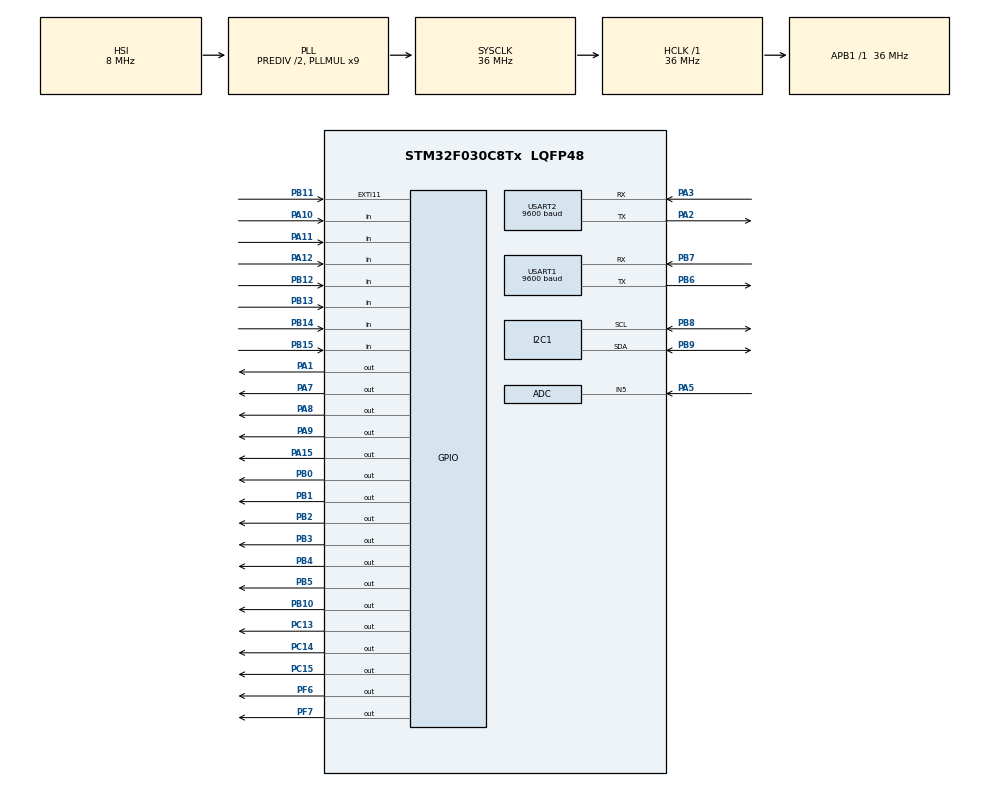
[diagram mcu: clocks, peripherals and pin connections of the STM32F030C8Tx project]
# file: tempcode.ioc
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ADC.ClockPrescaler=ADC_CLOCK_ASYNC_DIV1
ADC.ContinuousConvMode=ENABLE
ADC.DMAContinuousRequests=ENABLE
ADC.ExternalTrigConv=ADC_SOFTWARE_START
ADC.SamplingTime=ADC_SAMPLETIME_28CYCLES_5
Dma.ADC.0.Direction=DMA_PERIPH_TO_MEMORY
Dma.ADC.0.Instance=DMA1_Channel1
Dma.ADC.0.MemDataAlignment=DMA_MDATAALIGN_HALFWORD
Dma.ADC.0.MemInc=DMA_MINC_ENABLE
Dma.ADC.0.Mode=DMA_CIRCULAR
Dma.ADC.0.PeriphDataAlignment=DMA_PDATAALIGN_HALFWORD
Dma.ADC.0.PeriphInc=DMA_PINC_DISABLE
Dma.ADC.0.Priority=DMA_PRIORITY_LOW
Dma.Request0=ADC
Dma.Request1=USART2_RX
Dma.Request2=USART1_RX
Dma.USART1_RX.2.Direction=DMA_PERIPH_TO_MEMORY
Dma.USART1_RX.2.Instance=DMA1_Channel3
Dma.USART1_RX.2.MemDataAlignment=DMA_MDATAALIGN_BYTE
Dma.USART1_RX.2.MemInc=DMA_MINC_ENABLE
Dma.USART1_RX.2.Mode=DMA_NORMAL
Dma.USART1_RX.2.PeriphDataAlignment=DMA_PDATAALIGN_BYTE
Dma.USART1_RX.2.PeriphInc=DMA_PINC_DISABLE
Dma.USART1_RX.2.Priority=DMA_PRIORITY_LOW
Dma.USART2_RX.1.Direction=DMA_PERIPH_TO_MEMORY
Dma.USART2_RX.1.Instance=DMA1_Channel5
Dma.USART2_RX.1.MemDataAlignment=DMA_MDATAALIGN_BYTE
Dma.USART2_RX.1.MemInc=DMA_MINC_ENABLE
Dma.USART2_RX.1.Mode=DMA_NORMAL
Dma.USART2_RX.1.PeriphDataAlignment=DMA_PDATAALIGN_BYTE
Dma.USART2_RX.1.PeriphInc=DMA_PINC_DISABLE
Dma.USART2_RX.1.Priority=DMA_PRIORITY_LOW
I2C1.Timing=0x00808CD2
Mcu.Family=STM32F0
Mcu.Name=STM32F030C8Tx
Mcu.Package=LQFP48
NVIC.DMA1_Channel1_IRQn=true\:0\:0\:false\:false\:true\:false\:true\:true
NVIC.DMA1_Channel2_3_IRQn=true\:0\:0\:false\:false\:true\:false\:true\:true
NVIC.DMA1_Channel4_5_IRQn=true\:0\:0\:false\:false\:true\:false\:true\:true
NVIC.USART1_IRQn=true\:0\:0\:false\:false\:true\:true\:true\:true
NVIC.USART2_IRQn=true\:0\:0\:false\:false\:true\:true\:true\:true
PA1.Signal=GPIO_Output
PA10.Signal=GPIO_Input
PA11.Signal=GPIO_Input
PA12.Signal=GPIO_Input
PA13.Mode=Serial_Wire
PA13.Signal=SYS_SWDIO
PA14.Mode=Serial_Wire
PA14.Signal=SYS_SWCLK
PA15.Signal=GPIO_Output
PA2.Mode=Asynchronous
PA2.Signal=USART2_TX
PA3.Mode=Asynchronous
PA3.Signal=USART2_RX
PA5.Mode=IN5
PA5.Signal=ADC_IN5
PA7.Signal=GPIO_Output
PA8.Signal=GPIO_Output
PA9.Signal=GPIO_Output
PB0.Signal=GPIO_Output
PB1.Signal=GPIO_Output
PB10.Signal=GPIO_Output
PB11.Signal=GPXTI11
PB12.GPIO_PuPd=GPIO_PULLUP
PB12.Signal=GPIO_Input
PB13.GPIO_PuPd=GPIO_PULLUP
PB13.Signal=GPIO_Input
PB14.GPIO_PuPd=GPIO_PULLUP
PB14.Signal=GPIO_Input
PB15.GPIO_PuPd=GPIO_PULLUP
PB15.Signal=GPIO_Input
PB2.Signal=GPIO_Output
PB3.Signal=GPIO_Output
PB4.Signal=GPIO_Output
PB5.Signal=GPIO_Output
PB6.Mode=Asynchronous
PB6.Signal=USART1_TX
PB7.Mode=Asynchronous
PB7.Signal=USART1_RX
PB8.GPIO_Pu=GPIO_PULLUP
PB8.Mode=I2C
PB8.Signal=I2C1_SCL
PB9.GPIO_Pu=GPIO_PULLUP
PB9.Mode=I2C
PB9.Signal=I2C1_SDA
PC13.Signal=GPIO_Output
PC14-OSC32_IN.Signal=GPIO_Output
PC15-OSC32_OUT.Signal=GPIO_Output
PF0-OSC_IN.Mode=HSE-External-Oscillator
PF0-OSC_IN.Signal=RCC_OSC_IN
PF1-OSC_OUT.Mode=HSE-External-Oscillator
PF1-OSC_OUT.Signal=RCC_OSC_OUT
PF6.Signal=GPIO_Output
PF7.Signal=GPIO_Output
ProjectManager.HeapSize=0x200
ProjectManager.StackSize=0x400
ProjectManager.TargetToolchain=Makefile
RCC.AHBFreq_Value=36000000
RCC.APB1Freq_Value=36000000
RCC.APB1TimFreq_Value=36000000
RCC.HCLKFreq_Value=36000000
RCC.I2c1ClockSelection=RCC_I2C1CLKSOURCE_SYSCLK
RCC.PLLDivider=RCC_PREDIV_DIV2
RCC.PLLMUL=RCC_PLL_MUL9
RCC.SYSCLKFreq_VALUE=36000000
RCC.SYSCLKSource=RCC_SYSCLKSOURCE_PLLCLK
USART1.BaudRate=9600
USART1.VirtualMode-Asynchronous=VM_ASYNC
USART2.BaudRate=9600
USART2.VirtualMode-Asynchronous=VM_ASYNC
VP_IWDG_VS_IWDG.Mode=IWDG_Activate
board=custom

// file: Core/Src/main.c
/* USER CODE BEGIN Header */
/**
******************************************************************************
* @file           : main.c
* @brief          : Main program body
******************************************************************************
* @attention
*
* <h2><center>&copy; Copyright (c) 2021 STMicroelectronics.
* All rights reserved.</center></h2>
*
* This software component is licensed by ST under BSD 3-Clause license,
* the "License"; You may not use this file except in compliance with the
* License. You may obtain a copy of the License at:
*                        opensource.org/licenses/BSD-3-Clause
*
******************************************************************************
*/
/* USER CODE END Header */
#include "main.h"

/* USER CODE BEGIN Includes */
#include "DHT.h"
#include "control.h"
#include "ds18b20.h"
#include "TM1640.h"
#include "24c02.h"
#include "stdio.h"
#include "string.h"
#include "param.h"
#include "u2com.h"
#include "tlc5615.h"
/* USER CODE END Includes */

ADC_HandleTypeDef hadc;
DMA_HandleTypeDef hdma_adc;

I2C_HandleTypeDef hi2c1;

IWDG_HandleTypeDef hiwdg;

UART_HandleTypeDef huart1;
UART_HandleTypeDef huart2;
DMA_HandleTypeDef hdma_usart1_rx;
DMA_HandleTypeDef hdma_usart2_rx;

void SystemClock_Config(void);
static void MX_GPIO_Init(void);
static void MX_DMA_Init(void);
static void MX_ADC_Init(void);
static void MX_I2C1_Init(void);
static void MX_USART1_UART_Init(void);
static void MX_USART2_UART_Init(void);
static void MX_IWDG_Init(void);

int main(void)
{

  /* MCU Configuration--------------------------------------------------------*/

  /* Reset of all peripherals, Initializes the Flash interface and the Systick. */
  HAL_Init();

  /* Configure the system clock */
  SystemClock_Config();

  /* Initialize all configured peripherals */
  MX_GPIO_Init();
  MX_DMA_Init();
  MX_ADC_Init();
  MX_I2C1_Init();
  MX_USART1_UART_Init();
  MX_USART2_UART_Init();
  // MX_IWDG_Init();
  /* USER CODE BEGIN 2 */

  TM1640_GPIO_Config(); // 对TM1640的GPIO进行配置
  HAL_ADC_Start_DMA(&hadc, (uint32_t *)&AdDataOrig, ADDTNUM);
  JDQ1_L;
  JDQ3_L;
  JDQ4_L;
  JDQ5_L;
  qK1_L;
  qK2_L;
  qK3_L;
  LoadPara();
  RxEn;
  HAL_UART_Receive_DMA(&huart2, RxBufU2, MAXRXU2);
  __HAL_UART_ENABLE_IT(&huart2, UART_IT_IDLE);
  BeepOn;
  Init_TLC5615();
  /* USER CODE END 2 */

  /* Infinite loop */
  while (1)
  {

    /* USER CODE BEGIN 3 */
    ReadKey();
    // HAL_IWDG_Refresh(&hiwdg);
  }
  /* USER CODE END 3 */
}

void SystemClock_Config(void)
{
  RCC_OscInitTypeDef RCC_OscInitStruct = {0};
  RCC_ClkInitTypeDef RCC_ClkInitStruct = {0};
  RCC_PeriphCLKInitTypeDef PeriphClkInit = {0};

  /** Initializes the RCC Oscillators according to the specified parameters
   * in the RCC_OscInitTypeDef structure.
   */
  RCC_OscInitStruct.OscillatorType = RCC_OSCILLATORTYPE_HSI | RCC_OSCILLATORTYPE_HSI14 | RCC_OSCILLATORTYPE_LSI;
  RCC_OscInitStruct.HSIState = RCC_HSI_ON;
  RCC_OscInitStruct.HSI14State = RCC_HSI14_ON;
  RCC_OscInitStruct.HSICalibrationValue = RCC_HSICALIBRATION_DEFAULT;
  RCC_OscInitStruct.HSI14CalibrationValue = 16;
  RCC_OscInitStruct.LSIState = RCC_LSI_ON;
  RCC_OscInitStruct.PLL.PLLState = RCC_PLL_ON;
  RCC_OscInitStruct.PLL.PLLSource = RCC_PLLSOURCE_HSI;
  RCC_OscInitStruct.PLL.PLLMUL = RCC_PLL_MUL9;
  RCC_OscInitStruct.PLL.PREDIV = RCC_PREDIV_DIV2;
  if (HAL_RCC_OscConfig(&RCC_OscInitStruct) != HAL_OK)
  {
    Error_Handler();
  }

  /** Initializes the CPU, AHB and APB buses clocks
   */
  RCC_ClkInitStruct.ClockType = RCC_CLOCKTYPE_HCLK | RCC_CLOCKTYPE_SYSCLK | RCC_CLOCKTYPE_PCLK1;
  RCC_ClkInitStruct.SYSCLKSource = RCC_SYSCLKSOURCE_PLLCLK;
  RCC_ClkInitStruct.AHBCLKDivider = RCC_SYSCLK_DIV1;
  RCC_ClkInitStruct.APB1CLKDivider = RCC_HCLK_DIV1;

  if (HAL_RCC_ClockConfig(&RCC_ClkInitStruct, FLASH_LATENCY_1) != HAL_OK)
  {
    Error_Handler();
  }
  PeriphClkInit.PeriphClockSelection = RCC_PERIPHCLK_USART1 | RCC_PERIPHCLK_I2C1;
  PeriphClkInit.Usart1ClockSelection = RCC_USART1CLKSOURCE_PCLK1;
  PeriphClkInit.I2c1ClockSelection = RCC_I2C1CLKSOURCE_SYSCLK;
  if (HAL_RCCEx_PeriphCLKConfig(&PeriphClkInit) != HAL_OK)
  {
    Error_Handler();
  }
}

static void MX_ADC_Init(void)
{

  ADC_ChannelConfTypeDef sConfig = {0};

  /** Configure the global features of the ADC (Clock, Resolution, Data Alignment and number of conversion)
   */
  hadc.Instance = ADC1;
  hadc.Init.ClockPrescaler = ADC_CLOCK_ASYNC_DIV1;
  hadc.Init.Resolution = ADC_RESOLUTION_12B;
  hadc.Init.DataAlign = ADC_DATAALIGN_RIGHT;
  hadc.Init.ScanConvMode = ADC_SCAN_DIRECTION_FORWARD;
  hadc.Init.EOCSelection = ADC_EOC_SINGLE_CONV;
  hadc.Init.LowPowerAutoWait = DISABLE;
  hadc.Init.LowPowerAutoPowerOff = DISABLE;
  hadc.Init.ContinuousConvMode = ENABLE;
  hadc.Init.DiscontinuousConvMode = DISABLE;
  hadc.Init.ExternalTrigConv = ADC_SOFTWARE_START;
  hadc.Init.ExternalTrigConvEdge = ADC_EXTERNALTRIGCONVEDGE_NONE;
  hadc.Init.DMAContinuousRequests = ENABLE;
  hadc.Init.Overrun = ADC_OVR_DATA_PRESERVED;
  if (HAL_ADC_Init(&hadc) != HAL_OK)
  {
    Error_Handler();
  }

  /** Configure for the selected ADC regular channel to be converted.
   */
  sConfig.Channel = ADC_CHANNEL_5;
  sConfig.Rank = ADC_RANK_CHANNEL_NUMBER;
  sConfig.SamplingTime = ADC_SAMPLETIME_28CYCLES_5;
  if (HAL_ADC_ConfigChannel(&hadc, &sConfig) != HAL_OK)
  {
    Error_Handler();
  }
}

static void MX_I2C1_Init(void)
{

  hi2c1.Instance = I2C1;
  hi2c1.Init.Timing = 0x00808CD2;
  hi2c1.Init.OwnAddress1 = 0;
  hi2c1.Init.AddressingMode = I2C_ADDRESSINGMODE_7BIT;
  hi2c1.Init.DualAddressMode = I2C_DUALADDRESS_DISABLE;
  hi2c1.Init.OwnAddress2 = 0;
  hi2c1.Init.OwnAddress2Masks = I2C_OA2_NOMASK;
  hi2c1.Init.GeneralCallMode = I2C_GENERALCALL_DISABLE;
  hi2c1.Init.NoStretchMode = I2C_NOSTRETCH_DISABLE;
  if (HAL_I2C_Init(&hi2c1) != HAL_OK)
  {
    Error_Handler();
  }

  /** Configure Analogue filter
   */
  if (HAL_I2CEx_ConfigAnalogFilter(&hi2c1, I2C_ANALOGFILTER_ENABLE) != HAL_OK)
  {
    Error_Handler();
  }

  /** Configure Digital filter
   */
  if (HAL_I2CEx_ConfigDigitalFilter(&hi2c1, 0) != HAL_OK)
  {
    Error_Handler();
  }
}

static void MX_IWDG_Init(void)
{

  hiwdg.Instance = IWDG;
  hiwdg.Init.Prescaler = IWDG_PRESCALER_4;
  hiwdg.Init.Window = 4095;
  hiwdg.Init.Reload = 4095;
  if (HAL_IWDG_Init(&hiwdg) != HAL_OK)
  {
    Error_Handler();
  }
}

static void MX_USART1_UART_Init(void)
{

  huart1.Instance = USART1;
  huart1.Init.BaudRate = 9600;
  huart1.Init.WordLength = UART_WORDLENGTH_8B;
  huart1.Init.StopBits = UART_STOPBITS_1;
  huart1.Init.Parity = UART_PARITY_NONE;
  huart1.Init.Mode = UART_MODE_TX_RX;
  huart1.Init.HwFlowCtl = UART_HWCONTROL_NONE;
  huart1.Init.OverSampling = UART_OVERSAMPLING_16;
  huart1.Init.OneBitSampling = UART_ONE_BIT_SAMPLE_DISABLE;
  huart1.AdvancedInit.AdvFeatureInit = UART_ADVFEATURE_NO_INIT;
  if (HAL_UART_Init(&huart1) != HAL_OK)
  {
    Error_Handler();
  }
}

static void MX_USART2_UART_Init(void)
{

  huart2.Instance = USART2;
  huart2.Init.BaudRate = 9600;
  huart2.Init.WordLength = UART_WORDLENGTH_8B;
  huart2.Init.StopBits = UART_STOPBITS_1;
  huart2.Init.Parity = UART_PARITY_NONE;
  huart2.Init.Mode = UART_MODE_TX_RX;
  huart2.Init.HwFlowCtl = UART_HWCONTROL_NONE;
  huart2.Init.OverSampling = UART_OVERSAMPLING_16;
  huart2.Init.OneBitSampling = UART_ONE_BIT_SAMPLE_DISABLE;
  huart2.AdvancedInit.AdvFeatureInit = UART_ADVFEATURE_NO_INIT;
  if (HAL_UART_Init(&huart2) != HAL_OK)
  {
    Error_Handler();
  }
}

static void MX_DMA_Init(void)
{

  /* DMA controller clock enable */
  __HAL_RCC_DMA1_CLK_ENABLE();

  /* DMA interrupt init */
  /* DMA1_Channel1_IRQn interrupt configuration */
  HAL_NVIC_SetPriority(DMA1_Channel1_IRQn, 0, 0);
  HAL_NVIC_EnableIRQ(DMA1_Channel1_IRQn);
  /* DMA1_Channel2_3_IRQn interrupt configuration */
  HAL_NVIC_SetPriority(DMA1_Channel2_3_IRQn, 0, 0);
  HAL_NVIC_EnableIRQ(DMA1_Channel2_3_IRQn);
  /* DMA1_Channel4_5_IRQn interrupt configuration */
  HAL_NVIC_SetPriority(DMA1_Channel4_5_IRQn, 0, 0);
  HAL_NVIC_EnableIRQ(DMA1_Channel4_5_IRQn);
}

static void MX_GPIO_Init(void)
{
  GPIO_InitTypeDef GPIO_InitStruct = {0};

  /* GPIO Ports Clock Enable */
  __HAL_RCC_GPIOC_CLK_ENABLE();
  __HAL_RCC_GPIOF_CLK_ENABLE();
  __HAL_RCC_GPIOA_CLK_ENABLE();
  __HAL_RCC_GPIOB_CLK_ENABLE();

  /*Configure GPIO pin Output Level */
  HAL_GPIO_WritePin(GPIOC, GPIO_PIN_13 | GPIO_PIN_14 | GPIO_PIN_15, GPIO_PIN_RESET);

  /*Configure GPIO pin Output Level */
  HAL_GPIO_WritePin(GPIOA, GPIO_PIN_1 | GPIO_PIN_7 | GPIO_PIN_8 | GPIO_PIN_9 | GPIO_PIN_15, GPIO_PIN_RESET);

  /*Configure GPIO pin Output Level */
  HAL_GPIO_WritePin(GPIOB, GPIO_PIN_0 | GPIO_PIN_1 | GPIO_PIN_2 | GPIO_PIN_10 | GPIO_PIN_3 | GPIO_PIN_4 | GPIO_PIN_5, GPIO_PIN_RESET);

  /*Configure GPIO pin Output Level */
  HAL_GPIO_WritePin(GPIOF, GPIO_PIN_6 | GPIO_PIN_7, GPIO_PIN_RESET);

  /*Configure GPIO pins : PC13 PC14 PC15 */
  GPIO_InitStruct.Pin = GPIO_PIN_13 | GPIO_PIN_14 | GPIO_PIN_15;
  GPIO_InitStruct.Mode = GPIO_MODE_OUTPUT_PP;
  GPIO_InitStruct.Pull = GPIO_NOPULL;
  GPIO_InitStruct.Speed = GPIO_SPEED_FREQ_LOW;
  HAL_GPIO_Init(GPIOC, &GPIO_InitStruct);

  /*Configure GPIO pins : PA1 PA7 PA8 PA9
                           PA15 */
  GPIO_InitStruct.Pin = GPIO_PIN_1 | GPIO_PIN_7 | GPIO_PIN_8 | GPIO_PIN_9 | GPIO_PIN_15;
  GPIO_InitStruct.Mode = GPIO_MODE_OUTPUT_PP;
  GPIO_InitStruct.Pull = GPIO_NOPULL;
  GPIO_InitStruct.Speed = GPIO_SPEED_FREQ_LOW;
  HAL_GPIO_Init(GPIOA, &GPIO_InitStruct);

  /*Configure GPIO pins : PB0 PB1 PB2 PB10
                           PB3 PB4 PB5 */
  GPIO_InitStruct.Pin = GPIO_PIN_0 | GPIO_PIN_1 | GPIO_PIN_2 | GPIO_PIN_10 | GPIO_PIN_3 | GPIO_PIN_4 | GPIO_PIN_5;
  GPIO_InitStruct.Mode = GPIO_MODE_OUTPUT_PP;
  GPIO_InitStruct.Pull = GPIO_NOPULL;
  GPIO_InitStruct.Speed = GPIO_SPEED_FREQ_LOW;
  HAL_GPIO_Init(GPIOB, &GPIO_InitStruct);

  /*Configure GPIO pin : PB11 */
  GPIO_InitStruct.Pin = GPIO_PIN_11;
  GPIO_InitStruct.Mode = GPIO_MODE_IT_RISING;
  GPIO_InitStruct.Pull = GPIO_NOPULL;
  HAL_GPIO_Init(GPIOB, &GPIO_InitStruct);

  /*Configure GPIO pins : PB12 PB13 PB14 PB15 */
  GPIO_InitStruct.Pin = GPIO_PIN_12 | GPIO_PIN_13 | GPIO_PIN_14 | GPIO_PIN_15;
  GPIO_InitStruct.Mode = GPIO_MODE_INPUT;
  GPIO_InitStruct.Pull = GPIO_PULLUP;
  HAL_GPIO_Init(GPIOB, &GPIO_InitStruct);

  /*Configure GPIO pins : PA10 PA11 PA12 */
  GPIO_InitStruct.Pin = GPIO_PIN_10 | GPIO_PIN_11 | GPIO_PIN_12;
  GPIO_InitStruct.Mode = GPIO_MODE_INPUT;
  GPIO_InitStruct.Pull = GPIO_NOPULL;
  HAL_GPIO_Init(GPIOA, &GPIO_InitStruct);

  /*Configure GPIO pins : PF6 PF7 */
  GPIO_InitStruct.Pin = GPIO_PIN_6 | GPIO_PIN_7;
  GPIO_InitStruct.Mode = GPIO_MODE_OUTPUT_PP;
  GPIO_InitStruct.Pull = GPIO_NOPULL;
  GPIO_InitStruct.Speed = GPIO_SPEED_FREQ_LOW;
  HAL_GPIO_Init(GPIOF, &GPIO_InitStruct);
}

void Error_Handler(void)
{
}
